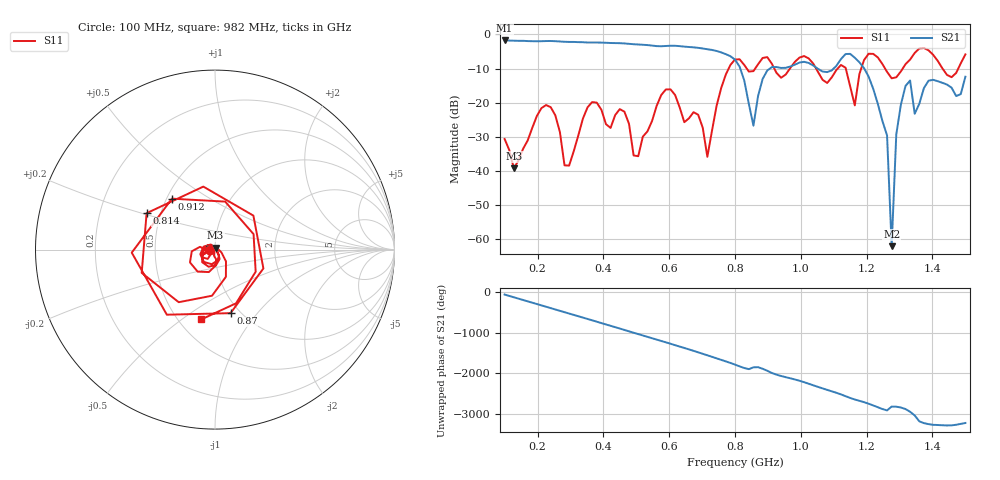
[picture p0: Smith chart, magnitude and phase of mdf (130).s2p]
! NanoVNA-App
! Date: 2025-09-26 09:40:45
! Start: 100MHz Stop: 1,5GHz Points: 101
! S-Parameter data: F S11 S21 S12 S22
# Hz S RI R 50
!  Frequency  S11_Real  S11_Imag  S21_Real  S21_Imag  S12_Real  S12_Imag  S22_Real  S22_Imag
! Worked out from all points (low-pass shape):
!   101 points, 100 MHz to 1.5 GHz, reference 50 ohm
!   highest |S21| = -1.79 dB at 100 MHz (marker M1); lowest = -62.0 dB at 1.276 GHz (marker M2)
!   |S21| within 3 dB of the highest: start of sweep to 740.4 MHz
!   lowest |S11| = -39.2 dB at 128 MHz (marker M3), VSWR 1.02, Z = 50.3 + j1.06 ohm
!   |S11| at or under -10 dB: start of sweep to 780.9 MHz; 1.046 GHz to 1.112 GHz (65.83 MHz wide, 6.1 % of centre); 1.256 GHz to 1.31 GHz (53.71 MHz wide, 4.19 % of centre) (the widest 3 of 7)
!   S12 and S22 are empty: the file has one direction only
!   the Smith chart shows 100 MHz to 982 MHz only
!   S11 on the Smith chart (normalised r, x): 100 MHz: 0.94, -0.01; 814 MHz: 0.42, +0.21; 870 MHz: 0.90, -0.74; 912 MHz: 0.53, +0.35; 982 MHz: 0.64, -0.59
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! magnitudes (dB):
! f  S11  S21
! 100 MHz  -30.6  -1.8
! 128 MHz  -39.2  -1.9
! 212 MHz  -21.6  -2.0
! 282 MHz  -38.3  -2.2
! 338 MHz  -24.6  -2.3
! 506 MHz  -35.7  -3.0
! 576 MHz  -17.7  -3.5
! 716 MHz  -35.9  -4.4
! 800 MHz  -7.4  -7.4
! 814 MHz  -7.3  -9.5
! 856 MHz  -10.8  -26.7
! 870 MHz  -8.8  -18.1
! 912 MHz  -8.6  -9.6
! 982 MHz  -8.0  -8.9
! 1.038 GHz  -8.6  -9.1
! 1.164 GHz  -20.8  -6.9
! 1.206 GHz  -5.7  -12.4
! 1.262 GHz  -11.0  -29.6
! 1.276 GHz  -12.9  -62.0
! 1.29 GHz  -12.6  -29.3
! 1.318 GHz  -8.7  -15.1
! 1.5 GHz  -5.9  -12.4
